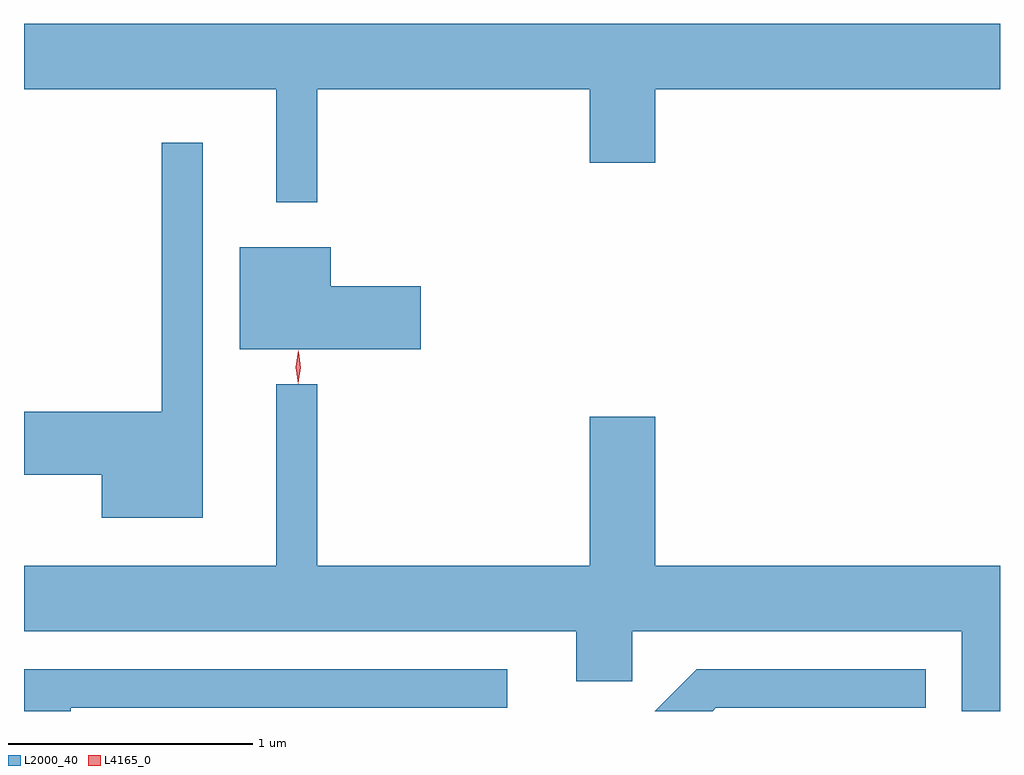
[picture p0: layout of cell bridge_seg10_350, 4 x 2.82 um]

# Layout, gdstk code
import gdstk
lib = gdstk.Library(unit=1e-6, precision=1e-09)
def P(c, l, *ps):  # polygons
    for p in ps: c.add(gdstk.Polygon(p, *l))
L2000_40 = (2000, 40)
L4165_0 = (4165, 0)

bridge_seg10_350 = lib.new_cell('bridge_seg10_350')
P(bridge_seg10_350, L2000_40, [(1073.099,2173.856),(1074.216,2173.856),(1074.216,2173.556),(1074.484,2173.556),(1074.484,2173.856),(1075.897,2173.856),(1075.897,2174.124),(1071.897,2174.124),(1071.897,2173.856),(1072.931,2173.856),(1072.931,2173.393),(1073.099,2173.393)],
  [(1072.629,2173.638),(1072.461,2173.638),(1072.461,2172.534),(1071.897,2172.534),(1071.897,2172.276),(1072.216,2172.276),(1072.216,2172.101),(1072.629,2172.101)],
  [(1073.524,2173.049),(1073.154,2173.049),(1073.154,2173.209),(1072.781,2173.209),(1072.781,2172.791),(1073.524,2172.791)],
  [(1075.897,2171.904),(1074.484,2171.904),(1074.484,2172.514),(1074.216,2172.514),(1074.216,2171.904),(1073.099,2171.904),(1073.099,2172.648),(1072.931,2172.648),(1072.931,2171.904),(1071.897,2171.904),(1071.897,2171.636),(1074.161,2171.636),(1074.161,2171.431),(1074.389,2171.431),(1074.389,2171.636),(1075.741,2171.636),(1075.741,2171.308),(1075.897,2171.308)],
  [(1072.089,2171.321),(1073.878,2171.321),(1073.878,2171.479),(1071.897,2171.479),(1071.897,2171.308),(1072.089,2171.308)],
  [(1074.732,2171.321),(1075.593,2171.321),(1075.593,2171.479),(1074.654,2171.479),(1074.483,2171.308),(1074.719,2171.308)])
P(bridge_seg10_350, L4165_0, [(1073.02,2172.65),(1073.02,2172.65),(1073.01,2172.718),(1073.02,2172.785),(1073.02,2172.786),(1073.021,2172.785),(1073.03,2172.718),(1073.021,2172.65)],
  [(1073.02,2172.653),(1073.02,2172.653),(1073.012,2172.716),(1073.022,2172.779),(1073.022,2172.78),(1073.023,2172.779),(1073.032,2172.716),(1073.021,2172.653)])

lib.write_gds('bridge_seg10_350.gds')
